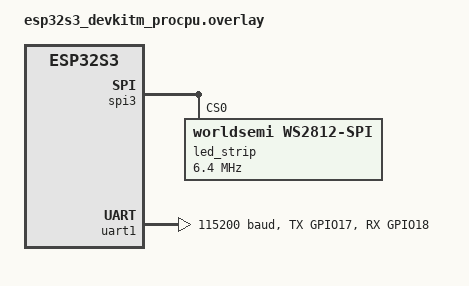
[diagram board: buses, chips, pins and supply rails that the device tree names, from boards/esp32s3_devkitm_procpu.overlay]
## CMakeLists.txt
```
# JRemote Controller - Zephyr 固件
# CMakeLists.txt

cmake_minimum_required(VERSION 3.20.0)

find_package(Zephyr REQUIRED)

project(jremote_controller)

# 设置 C++ 标准
set(CMAKE_CXX_STANDARD 17)
set(CMAKE_CXX_STANDARD_REQUIRED ON)

# 包含目录
target_include_directories(app PRIVATE
    ${CMAKE_SOURCE_DIR}/inc
    ${CMAKE_SOURCE_DIR}/inc/peripheral
    ${CMAKE_SOURCE_DIR}/inc/data
)

# 源文件 (C++)
target_sources(app PRIVATE
    # 主程序
    src/main.cpp

    # 外设模块
    src/peripheral/ble.cpp
    src/peripheral/ws2812_led.cpp

    # 数据处理模块
    src/data/data_handler.cpp
    src/data/control_data_handler.cpp
    src/data/user_data_handler.cpp
)
```

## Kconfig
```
# JRemote Controller - Kconfig

mainmenu "JRemote Controller"

source "$ZEPHYR_BASE/Kconfig.zephyr"

config APP_VERSION
    string "Application version"
    default "0.1.0"
    help
        Firmware version
```

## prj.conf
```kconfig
# JRemote Controller - Zephyr Configuration
# ESP32-S3 Configuration

# Enable console
CONFIG_CONSOLE=y
CONFIG_UART_CONSOLE=y
CONFIG_SERIAL=y

# UART
CONFIG_UART_ASYNC_API=y
CONFIG_UART_INTERRUPT_DRIVEN=n

# DMA
CONFIG_DMA=n

# Logging
CONFIG_LOG=y
CONFIG_LOG_DEFAULT_LEVEL=3

# Shell (for debugging)
CONFIG_SHELL=y

# SPI
CONFIG_SPI=y

# LED Strip (WS2812 via SPI)
CONFIG_LED_STRIP=y
CONFIG_WS2812_STRIP_SPI=y

CONFIG_BT=y
CONFIG_BT_HOST_CRYPTO=y

CONFIG_MBEDTLS=y
CONFIG_MBEDTLS_BUILTIN=y
CONFIG_MBEDTLS_PSA_CRYPTO_C=y

# BLE role
CONFIG_BT_PERIPHERAL=y
CONFIG_BT_DEVICE_NAME="JRemote"
CONFIG_BT_MAX_CONN=1

# BLE GATT
CONFIG_BT_GATT_CLIENT=y
CONFIG_BT_GATT_NOTIFY_MULTIPLE=y

# BLE Data Length Extension (DLE)
CONFIG_BT_DATA_LEN_UPDATE=y
CONFIG_BT_AUTO_DATA_LEN_UPDATE=y

# BLE PHY Update (optional, for better range/speed)
CONFIG_BT_PHY_UPDATE=y
CONFIG_BT_AUTO_PHY_UPDATE=y

# BLE Security (optional)
CONFIG_BT_SMP=y
CONFIG_BT_SMP_SC_PAIR_ONLY=y

# BLE buffers
CONFIG_BT_L2CAP_TX_MTU=517
CONFIG_BT_BUF_ACL_RX_SIZE=517
CONFIG_BT_BUF_ACL_TX_SIZE=517

# C++ static initialization
CONFIG_STATIC_INIT_GNU=y
```

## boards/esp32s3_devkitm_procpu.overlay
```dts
/*
 * JRemote Controller - 设备树覆盖层
 * WS2812 LED SPI 配置
 * UART MCU 通信配置
 */

#include <zephyr/dt-bindings/led/led.h>

&spi3 {
	/* WS2812 驱动支持 */
	line-idle-low;

	led_strip: ws2812@0 {
		compatible = "worldsemi,ws2812-spi";

		/* SPI 配置 */
		reg = <0>;
		spi-max-frequency = <6400000>;

		/* WS2812 配置 */
		chain-length = <1>;
		spi-cpha;
		spi-one-frame = <0xf0>;  /* 11110000: 625ns 高电平 + 625ns 低电平 */
		spi-zero-frame = <0xc0>;  /* 11000000: 312.5ns 高电平 + 937.5ns 低电平 */
		color-mapping = <LED_COLOR_ID_GREEN
				 LED_COLOR_ID_RED
				 LED_COLOR_ID_BLUE>;
	};
};

&pinctrl {
	spim3_default: spim3_default {
		group1 {
			pinmux = <SPIM3_MOSI_GPIO48>;
		};
	};
	uart1_default: uart1_default {
		group1 {
			pinmux = <UART1_TX_GPIO17>;
			output-high;
		};
		group2 {
			pinmux = <UART1_RX_GPIO18>;
			bias-pull-up;
		};
	};
};

/* MCU 通信 UART */
&uart1 {
	status = "okay";
	current-speed = <115200>;

	pinctrl-0 = <&uart1_default>;
	pinctrl-names = "default";
};

/ {
	aliases {
		led-strip = &led_strip;
	};
};
```

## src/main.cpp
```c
// JRemote Controller - Zephyr 固件
// 目标平台: ESP32
// 语言: C++17

#include <zephyr/kernel.h>
#include <zephyr/device.h>
#include <zephyr/devicetree.h>
#include <zephyr/logging/log.h>

#include "peripheral/ws2812_led.h"
#include "peripheral/ble.h"
#include "peripheral/serial.h"
#include "data/data_handler.h"
#include "data/control_data.h"

LOG_MODULE_REGISTER(jremote);

// BLE 线程栈
K_THREAD_STACK_DEFINE(ble_stack_area, 2048);

// 全局 BLE 实例（传入线程栈）
Ble g_ble(ble_stack_area, K_THREAD_STACK_SIZEOF(ble_stack_area));

// 全局 DataHandler 实例
static DataHandler g_data_handler;

// WS2812 LED 设备
static const struct device* led_strip_dev = DEVICE_DT_GET(DT_ALIAS(led_strip));

// MCU UART 设备
static const struct device* mcu_uart_dev = DEVICE_DT_GET(DT_NODELABEL(uart1));

// Serial 实例（RX 环形缓冲区 512 字节，DMA 缓冲区 256 字节）
Serial<512, 256> g_serial(mcu_uart_dev, kInterrupt, 115200);



int main(void)
{
	LOG_INF("JRemote Controller Zephyr 固件 v0.1.0");
	LOG_INF("目标平台: ESP32");

	// 检查 LED 设备是否就绪
	if (!device_is_ready(led_strip_dev)) {
		LOG_ERR("LED 设备未就绪");
		return -1;
	}

	// 初始化 WS2812 LED
	Ws2812Led led(led_strip_dev);
	if (!led.Init()) {
		LOG_ERR("WS2812 LED 初始化失败");
	} else {
		LOG_INF("WS2812 LED 已初始化");
	}

	// 设置 LED 为蓝色表示 BLE 初始化中
	led.SetColor(0, 0, 255);

	// 初始化 Serial
	if (!g_serial.IsReady()) {
		LOG_ERR("串口设备未就绪");
	} else {
		LOG_INF("串口已初始化");
	}

	// 初始化 DataHandler
	if (g_data_handler.Init() != 0) {
		LOG_ERR("DataHandler 初始化失败");
		return -1;
	}
	LOG_INF("DataHandler 已初始化");

	// 设置 DataHandler 回调
	g_data_handler.SetControlDataCallback(OnControlDataCallback);
	g_data_handler.SetUserDataCallback(OnUserDataCallback);

	// 初始化 BLE 并连接 DataHandler
	if (g_ble.Init() != 0) {
		LOG_ERR("BLE 初始化失败");
		return -1;
	}
	g_ble.SetDataHandler(&g_data_handler);
	LOG_INF("BLE 线程已启动");

	// 主循环
	while (true) {
		// 根据连接状态改变 LED 颜色
		if (g_ble.IsConnected()) {
			// 已连接 - 绿色
			led.SetColor(0, 255, 0);
			k_sleep(K_MSEC(100));
		} else {
			// 未连接 - 蓝色
			led.SetColor(0, 0, 255);
			k_sleep(K_MSEC(100));
		}
	}

	return 0;
}
```

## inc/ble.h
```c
#ifndef BLE_H
#define BLE_H

#include <zephyr/bluetooth/bluetooth.h>
#include <zephyr/bluetooth/conn.h>
#include <zephyr/bluetooth/gatt.h>
#include <zephyr/bluetooth/hci.h>
#include <zephyr/kernel.h>

// BLE UUID 定义 (与 Android App 兼容)
// Service: 4fafc201-1fb5-459e-8fcc-c5c9c331914b
// TX (Notify): beb5483e-36e1-4688-b7f5-ea07361b26a8 (设备发送, App 接收)
// RX (Write): 6e400002-b5a3-f393-e0a9-e50e24dcca9e (App 发送, 设备接收)
#define BLE_SERVICE_UUID_VAL     BT_UUID_128_ENCODE(0x4fafc201, 0x1fb5, 0x459e, 0x8fcc, 0xc5c9c331914b)
#define BLE_TX_UUID_VAL          BT_UUID_128_ENCODE(0xbeb5483e, 0x36e1, 0x4688, 0xb7f5, 0xea07361b26a8)
#define BLE_RX_UUID_VAL          BT_UUID_128_ENCODE(0x6e400002, 0xb5a3, 0xf393, 0xe0a9, 0xe50e24dcca9e)

#define BLE_SERVICE_UUID     BT_UUID_DECLARE_128(BLE_SERVICE_UUID_VAL)
#define BLE_TX_UUID          BT_UUID_DECLARE_128(BLE_TX_UUID_VAL)
#define BLE_RX_UUID          BT_UUID_DECLARE_128(BLE_RX_UUID_VAL)

// 数据回调类型
typedef void (*BleDataCallback)(const uint8_t* data, uint16_t len);

// BLE 类
class Ble {
public:
	// 构造函数
	Ble(k_thread_stack_t* stack, size_t stack_size);
	~Ble();

	// 初始化 BLE 堆栈并启动线程
	int Init();

	// 启动广播
	int StartAdvertising();

	// 发送数据到手机
	int SendData(const uint8_t* data, uint16_t len);

	// 设置数据接收回调
	void SetReceiveCallback(BleDataCallback callback);

	// 获取连接状态
	bool IsConnected() const;

	// 获取通知订阅状态
	bool IsSubscribed() const;

	// 获取当前 MTU
	uint16_t GetMtu() const;

	// 供回调使用的公共接口
	void OnConnected(struct bt_conn* conn);
	void OnDisconnected(struct bt_conn* conn);
	void OnRxData(const uint8_t* data, uint16_t len);
	void OnMtuExchanged(struct bt_conn* conn);
	void OnCccChanged(uint16_t value);

	// 静态实例指针 (供回调使用)
	static Ble* instance_;

private:
	// 线程入口 (静态成员函数)
	static void ThreadEntry(void* p1, void* p2, void* p3);

	// 线程相关
	k_thread_stack_t* stack_;
	size_t stack_size_;
	struct k_thread thread_data_;

	// 成员变量
	bool initialized_;
	bool connected_;
	bool subscribed_;
	struct bt_conn* conn_;
	BleDataCallback receive_callback_;
	uint16_t mtu_;
};

#endif  // BLE_H
```

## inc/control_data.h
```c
#ifndef CONTROL_DATA_H
#define CONTROL_DATA_H

#include <zephyr/kernel.h>

// 控制数据结构 (9 字节)
struct ControlData {
	uint8_t header;      // 字节0: 帧头 (0xAA=正常, 0xEE=急停)
	int8_t left_x;      // 字节1: 左摇杆 X (-127 ~ 127)
	int8_t left_y;      // 字节2: 左摇杆 Y (-127 ~ 127)
	int8_t right_x;     // 字节3: 右摇杆 X (-127 ~ 127)
	int8_t right_y;     // 字节4: 右摇杆 Y (-127 ~ 127)
	uint32_t buttons;   // 字节5-8: 按钮状态 (位掩码)
};

// 帧头定义
constexpr uint8_t kFrameHeaderNormal = 0xAA;
constexpr uint8_t kFrameHeaderEmergency = 0xEE;

// 连接类型
enum class ConnectionType {
	BLE,    // 蓝牙连接
	AP,     // AP 模式连接
	LAN,    // 局域网连接
	UART    // 串口连接
};

// 数据回调类型
typedef void (*ControlDataCallback)(const ControlData& data);

// 数据处理类
class ControlDataHandler {
public:
	ControlDataHandler();
	~ControlDataHandler() = default;

	// 设置数据接收回调
	void SetCallback(ControlDataCallback callback);

	// 处理接收到的原始数据
	// 返回: true=处理成功, false=数据无效
	bool ProcessData(const uint8_t* data, uint16_t len);

	// 获取最新数据
	ControlData GetData() const;

	// 获取连接类型
	ConnectionType GetConnectionType() const;

	// 设置连接类型
	void SetConnectionType(ConnectionType type);

	// 检查是否是急停指令
	bool IsEmergencyStop() const;

	// 检查是否有新数据
	bool HasNewData() const;

	// 标记数据已处理
	void ClearNewDataFlag();

private:
	ControlData data_;
	ControlDataCallback callback_;
	ConnectionType connection_type_;
	bool has_new_data_;
};

#endif  // CONTROL_DATA_H
```

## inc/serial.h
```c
//
// JRemote Controller - Serial Driver
// Based on mammoth project implementation
//

#ifndef JREMOTE_SERIAL_H
#define JREMOTE_SERIAL_H

#include <zephyr/kernel.h>
#include <zephyr/device.h>
#include <zephyr/drivers/uart.h>
#include <zephyr/sys/ring_buffer.h>
#include <cstdint>
#include <cstdlib>
#include <cstring>

// 定义模式枚举
enum SerialMode {
	kPolling,   // 阻塞/轮询模式
	kInterrupt, // 中断模式
	kDma        // DMA/Async模式
};

/**
 * @brief 异步串口封装类
 * @tparam RingBufferSize 用户读取用的 RingBuffer 大小
 * @tparam DmaBufferSize 单个 DMA 块的大小 (双缓冲模式下会分配两个此类 buffer)
 */
template <size_t RingBufferSize = 1024, size_t DmaBufferSize = 256>
class Serial {
public:
	/**
	 * @brief 构造函数
	 * @param dev UART 设备指针 (例如 DEVICE_DT_GET(DT_NODELABEL(uart1)))
	 * @param mode 工作模式，默认为阻塞模式
	 * @param baudrate 波特率，默认为 115200
	 * @param data_bits 数据位，默认为 8
	 * @param stop_bits 停止位，默认为 1
	 * @param parity 校验位，默认为无校验
	 */
	explicit Serial(const struct device* dev, SerialMode mode = kPolling, uint32_t baudrate = 115200,
					uint8_t data_bits = 8, uint8_t stop_bits = 1, uint8_t parity = UART_CFG_PARITY_NONE);

	~Serial();

	/**
	 * @brief 发送数据
	 * @note DMA 模式下会阻塞直到发送完成，但由 DMA 搬运，不消耗 CPU 周期
	 */
	bool SendData(const uint8_t* data, uint32_t len);

	/**
	 * @brief 读取数据 (从 RingBuffer 取)
	 */
	int32_t Read(uint8_t* data, uint32_t max_len);

	/**
	 * @brief 设置工作模式
	 */
	bool SetMode(SerialMode mode);

	bool IsReady() const { return device_is_ready(dev_); }

	int SetBaudrate(uint32_t baudrate);

protected:
	const struct device* dev_;
	SerialMode mode_;

	// --- 接收路径 (RX) ---
	struct ring_buf rx_ring_buf_;
	uint8_t rx_ring_mem_[RingBufferSize];

	// --- 发送路径 (TX) ---
	// 发送互斥锁：防止多线程同时调用 Write 导致数据错乱
	struct k_mutex tx_mutex_;
	// 发送完成信号量：用于 DMA 模式下的同步等待
	struct k_sem tx_done_sem_;
	// TX 内部缓冲
	uint8_t tx_dma_buf_[DmaBufferSize] __aligned(32);

	// --- DMA 双缓冲管理 ---
	// 定义两个对齐的 DMA 接收缓冲区
	uint8_t rx_dma_buf_a_[DmaBufferSize] __aligned(32);
	uint8_t rx_dma_buf_b_[DmaBufferSize] __aligned(32);
	// 指向下一个应该提供给硬件的 Buffer
	uint8_t* next_dma_buf_;

	// --- 回调函数 ---
	static void UartIsr(const struct device* dev, void* user_data);
	static void AsyncCallback(const struct device* dev, struct uart_event* evt, void* user_data);

	// 串口配置
	struct uart_config cfg_;

private:
	void DisableAll();
};

template <size_t RB_SZ, size_t DMA_SZ>
Serial<RB_SZ, DMA_SZ>::Serial(const struct device* dev, SerialMode mode, uint32_t baudrate, uint8_t data_bits, uint8_t stop_bits, uint8_t parity)
	: dev_(dev), mode_(kPolling), next_dma_buf_(rx_dma_buf_b_)
{
	// 初始化核心 RingBuffer
	ring_buf_init(&rx_ring_buf_, sizeof(rx_ring_mem_), rx_ring_mem_);

	// 初始化互斥锁
	k_mutex_init(&tx_mutex_);
	// 初始化信号量
	k_sem_init(&tx_done_sem_, 0, 1);

	if (device_is_ready(dev_)) {
		SetMode(mode);
		// 获取配置
		uart_config_get(dev_, &cfg_);
		cfg_.baudrate = baudrate;
		cfg_.data_bits = data_bits;
		cfg_.stop_bits = stop_bits;
		cfg_.parity = parity;
		// 配置
		uart_configure(dev_, &cfg_);
	}
}

template <size_t RB_SZ, size_t DMA_SZ>
Serial<RB_SZ, DMA_SZ>::~Serial() {
	DisableAll();
}

template <size_t RB_SZ, size_t DMA_SZ>
void Serial<RB_SZ, DMA_SZ>::DisableAll() {
	uart_irq_rx_disable(dev_);
	uart_irq_tx_disable(dev_);
#ifdef CONFIG_UART_ASYNC_API
	if (mode_ == kDma) {
		uart_rx_disable(dev_);
	}
#endif
}

template <size_t RB_SZ, size_t DMA_SZ>
bool Serial<RB_SZ, DMA_SZ>::SetMode(SerialMode mode) {
	if (!device_is_ready(dev_)) return false;

	DisableAll();
	mode_ = mode;

	switch (mode_) {
	case kPolling:
		return true;

	case kInterrupt:
		// 注册中断回调，传入 'this' 作为 user_data
		uart_irq_callback_user_data_set(dev_, UartIsr, this);
		uart_irq_rx_enable(dev_);
		return true;

	case kDma:
#ifdef CONFIG_UART_ASYNC_API
		// 注册异步回调，传入 'this' 作为 user_data
		if (uart_callback_set(dev_, AsyncCallback, this) != 0) {
			return false;
		}

		// 初始状态：
		// 1. 启用 RX，使用 Buffer A
		// 2. 将 Buffer B 标记为下一个备用
		next_dma_buf_ = rx_dma_buf_b_;

		// 10ms 超时：如果接收不满一个 buffer 但线路空闲 10ms，也会触发 RX_RDY
		uart_rx_enable(dev_, rx_dma_buf_a_, DMA_SZ, 10000);
		return true;
#else
		return false; // 在 prj.conf 中未开启 CONFIG_UART_ASYNC_API
#endif
	default:
		return false;
	}
}

template <size_t RB_SZ, size_t DMA_SZ>
bool Serial<RB_SZ, DMA_SZ>::SendData(const uint8_t* data, uint32_t len) {
	if (!data || len == 0) return false;

	// 1. 加锁，确保多线程安全
	k_mutex_lock(&tx_mutex_, K_FOREVER);
	bool ret = true;

	if (mode_ == kDma) {
#ifdef CONFIG_UART_ASYNC_API
		// DMA 模式分块发送（如果数据长度超过内部 TX Buffer）
		uint32_t sent = 0;
		while (sent < len) {
			uint32_t chunk = len - sent;
			if (chunk > DMA_SZ) chunk = DMA_SZ;

			// 拷贝到内部 RAM buffer (必须步骤，防止 data 指向栈内存或 Flash)
			memcpy(tx_dma_buf_, data + sent, chunk);

			k_sem_reset(&tx_done_sem_);

			// 启动 DMA 发送
			if (uart_tx(dev_, tx_dma_buf_, chunk, SYS_FOREVER_US) == 0) {
				// 阻塞等待发送完成信号量 (由 AsyncCallback 释放)
				k_sem_take(&tx_done_sem_, K_FOREVER);
			} else {
				ret = false;
				break;
			}
			sent += chunk;
		}
#else
		ret = false;
#endif
	} else {
		// 轮询模式 / 中断模式下的发送
		for (uint32_t i = 0; i < len; i++) {
			uart_poll_out(dev_, data[i]);
		}
	}

	k_mutex_unlock(&tx_mutex_);
	return ret;
}

template <size_t RB_SZ, size_t DMA_SZ>
int32_t Serial<RB_SZ, DMA_SZ>::Read(uint8_t* data, uint32_t max_len) {
	if (mode_ == kPolling) {
		// 非阻塞轮询读取
		uint32_t cnt = 0;
		while (cnt < max_len && uart_poll_in(dev_, &data[cnt]) == 0) {
			cnt++;
		}
		return cnt;
	} else {
		// 中断和 DMA 模式都已将数据汇聚到 ring_buf
		return ring_buf_get(&rx_ring_buf_, data, max_len);
	}
}

// -------------------------------------------------------------------------
// Callbacks (ISR context)
// -------------------------------------------------------------------------

template <size_t RB_SZ, size_t DMA_SZ>
void Serial<RB_SZ, DMA_SZ>::AsyncCallback(const struct device* dev,
										  struct uart_event* evt,
										  void* user_data) {
#ifdef CONFIG_UART_ASYNC_API
	// 将 user_data 强转回当前类实例指针
	Serial* self = static_cast<Serial*>(user_data);

	switch (evt->type) {
	case UART_TX_DONE:
	case UART_TX_ABORTED:
		// 发送完成，唤醒 Write 函数
		k_sem_give(&self->tx_done_sem_);
		break;

	case UART_RX_RDY:
		// 【数据到达】
		if (evt->data.rx.len > 0) {
			ring_buf_put(&self->rx_ring_buf_,
						 evt->data.rx.buf + evt->data.rx.offset,
						 evt->data.rx.len);
		}
		break;

	case UART_RX_BUF_REQUEST:
		// 请求新 Buffer (双缓冲切换)
		uart_rx_buf_rsp(dev, self->next_dma_buf_, DMA_SZ);

		// 交换 buffer 指针，准备下一次切换
		if (self->next_dma_buf_ == self->rx_dma_buf_a_) {
			self->next_dma_buf_ = self->rx_dma_buf_b_;
		} else {
			self->next_dma_buf_ = self->rx_dma_buf_a_;
		}
		break;

	case UART_RX_DISABLED:
		// 如果 RX 意外停止，尝试重启
		if (self->mode_ == kDma) {
			uart_rx_enable(dev, self->rx_dma_buf_a_, DMA_SZ, 10000);
		}
		break;

	default:
		break;
	}
#endif
}

template <size_t RB_SZ, size_t DMA_SZ>
void Serial<RB_SZ, DMA_SZ>::UartIsr(const struct device* dev, void* user_data) {
	Serial* self = static_cast<Serial*>(user_data);

	uart_irq_update(dev);

	if (uart_irq_rx_ready(dev)) {
		uint8_t buffer[64];
		int len;
		while ((len = uart_fifo_read(dev, buffer, sizeof(buffer))) > 0) {
			ring_buf_put(&self->rx_ring_buf_, buffer, len);
		}
	}
}

template <size_t RingBufferSize, size_t DmaBufferSize>
int Serial<RingBufferSize, DmaBufferSize>::SetBaudrate(uint32_t baudrate) {
	cfg_.baudrate = baudrate;
	return uart_configure(dev_, &cfg_);
}

#endif // JREMOTE_SERIAL_H
```

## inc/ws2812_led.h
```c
#ifndef WS2812_LED_H
#define WS2812_LED_H

#include <zephyr/device.h>
#include <zephyr/drivers/led_strip.h>

// RGB color structure
struct RgbColor {
	uint8_t r;
	uint8_t g;
	uint8_t b;
};

// WS2812 LED class wrapping Zephyr LED strip driver
class Ws2812Led {
public:
	// Constructor
	explicit Ws2812Led(const struct device* strip);

	// Initialize the LED
	bool Init();

	// Set color (RGB)
	void SetColor(uint8_t r, uint8_t g, uint8_t b);

	// Set color (from RgbColor struct)
	void SetColor(RgbColor color);

	// Get current color
	RgbColor GetColor() const;


	// Check if LED is ready
	bool IsReady() const;

private:
	// Show (update LED)
	void Show() const;
	const struct device* strip_;
	RgbColor current_color_;
	bool initialized_;
};

#endif  // WS2812_LED_H
```

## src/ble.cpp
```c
#include "ble.h"
#include <zephyr/kernel.h>
#include <zephyr/bluetooth/bluetooth.h>
#include <zephyr/bluetooth/gatt.h>
#include <zephyr/logging/log.h>

LOG_MODULE_REGISTER(ble);

// 静态成员定义
Ble* Ble::instance_ = nullptr;

// Ping 定义
static constexpr uint8_t kPingRequest = 0x70;   // 'p'
static constexpr uint8_t kPingResponse = 0x50;  // 'P'

// 服务 UUID 128-bit (little-endian for BLE)
// UUID: 4fafc201-1fb5-459e-8fcc-c5c9c331914b
static const uint8_t service_uuid_128[] = {
	0x4b, 0x91, 0x31, 0xc3, 0xc9, 0xc5, 0xcc, 0x8f,
	0x9e, 0x45, 0xb5, 0x1f, 0x01, 0xc2, 0xaf, 0x4f
};

// 连接回调函数
static void OnConnectedCallback(struct bt_conn* conn, uint8_t err) {
	if (err) {
		LOG_ERR("Connection failed (err %u)", err);
		return;
	}
	if (Ble::instance_) {
		Ble::instance_->OnConnected(conn);
	}
}

static void OnDisconnectedCallback(struct bt_conn* conn, uint8_t reason) {
	LOG_INF("Disconnected (reason %u)", reason);
	if (Ble::instance_) {
		Ble::instance_->OnDisconnected(conn);
	}
}

// MTU 协商回调
static void OnMtuExchangedCallback(struct bt_conn* conn, uint8_t err,
								   struct bt_gatt_exchange_params* params) {
	if (err) {
		LOG_WRN("MTU exchange failed (err %u)", err);
	} else {
		if (Ble::instance_) {
			Ble::instance_->OnMtuExchanged(conn);
		}
	}
}

static struct bt_gatt_exchange_params mtu_exchange_params;

// 连接回调定义
BT_CONN_CB_DEFINE(conn_callbacks) = {
	.connected = OnConnectedCallback,
	.disconnected = OnDisconnectedCallback,
};

// RX 写入回调
static ssize_t OnRxWriteCallback(struct bt_conn* conn,
								 const struct bt_gatt_attr* attr,
								 const void* buf, uint16_t len,
								 uint16_t offset, uint8_t flags) {
	(void)conn;
	(void)attr;
	(void)offset;
	(void)flags;

	if (Ble::instance_) {
		Ble::instance_->OnRxData((const uint8_t*)buf, len);
	}

	return len;
}

// CCC 配置回调
static void OnCccConfigChangedCallback(const struct bt_gatt_attr* attr,
									   uint16_t value) {
	if (Ble::instance_) {
		Ble::instance_->OnCccChanged(value);
	}
}

// GATT 服务定义
BT_GATT_SERVICE_DEFINE(ble_gatt_service,
	BT_GATT_PRIMARY_SERVICE(BLE_SERVICE_UUID),
	BT_GATT_CHARACTERISTIC(BLE_RX_UUID,
						  BT_GATT_CHRC_WRITE | BT_GATT_CHRC_WRITE_WITHOUT_RESP,
						  BT_GATT_PERM_WRITE, nullptr, OnRxWriteCallback, nullptr),
	BT_GATT_CHARACTERISTIC(BLE_TX_UUID,
						  BT_GATT_CHRC_NOTIFY,
						  BT_GATT_PERM_NONE, nullptr, nullptr, nullptr),
	BT_GATT_CCC(OnCccConfigChangedCallback, BT_GATT_PERM_READ | BT_GATT_PERM_WRITE),
);

Ble::Ble(k_thread_stack_t* stack, size_t stack_size)
	: stack_(stack), stack_size_(stack_size),
	  initialized_(false), connected_(false), subscribed_(false), conn_(nullptr),
	  receive_callback_(nullptr), mtu_(23) {
}

Ble::~Ble() {
}

int Ble::Init() {
	int err;

	// 保存实例指针供回调使用
	instance_ = this;

	// 初始化 BLE 堆栈
	err = bt_enable(nullptr);
	if (err) {
		LOG_ERR("Bluetooth init failed (err %d)", err);
		return err;
	}

	initialized_ = true;
	LOG_INF("Bluetooth initialized");

	// 创建线程
	k_thread_create(&thread_data_,
					stack_,
					stack_size_,
					ThreadEntry,
					this, nullptr, nullptr,
					5,  // 优先级
					0,  // 选项
					K_NO_WAIT);

	return 0;
}

int Ble::StartAdvertising() {
	int err;

	if (!initialized_) {
		LOG_ERR("Bluetooth not initialized");
		return -1;
	}

	// 广播数据: 包含标志和完整服务 UUID
	static const uint8_t flags[] = { BT_LE_AD_GENERAL | BT_LE_AD_NO_BREDR };

	struct bt_data adv_data[] = {
		BT_DATA(BT_DATA_FLAGS, flags, sizeof(flags)),
		BT_DATA(BT_DATA_UUID128_ALL, service_uuid_128, sizeof(service_uuid_128)),
	};

	// 扫描响应数据: 设备名称
	struct bt_data scan_data[] = {
		BT_DATA(BT_DATA_NAME_COMPLETE, "JRemote", 7),
	};

	err = bt_le_adv_start(BT_LE_ADV_CONN_FAST_1, adv_data, ARRAY_SIZE(adv_data),
						  scan_data, ARRAY_SIZE(scan_data));
	if (err) {
		LOG_ERR("Advertising failed to start (err %d)", err);
		return err;
	}

	LOG_INF("Advertising started");
	return 0;
}

int Ble::SendData(const uint8_t* data, uint16_t len) {
	if (!connected_ || conn_ == nullptr) {
		return -1;
	}

	if (!subscribed_) {
		return -2;
	}

	// 使用 TX 特征发送通知
	// attrs[0] = Primary Service, attrs[1] = RX decl, attrs[2] = RX value
	// attrs[3] = TX decl, attrs[4] = TX value, attrs[5] = CCC
	const struct bt_gatt_attr* attr = &ble_gatt_service.attrs[4];
	return bt_gatt_notify(conn_, attr, data, len);
}

void Ble::SetReceiveCallback(BleDataCallback callback) {
	receive_callback_ = callback;
}

bool Ble::IsConnected() const {
	return connected_;
}

bool Ble::IsSubscribed() const {
	return subscribed_;
}

uint16_t Ble::GetMtu() const {
	return mtu_;
}

void Ble::OnConnected(struct bt_conn* conn) {
	connected_ = true;
	conn_ = bt_conn_ref(conn);

	LOG_INF("Connected");

	// 请求更大的 MTU
	mtu_exchange_params.func = OnMtuExchangedCallback;
	int err = bt_gatt_exchange_mtu(conn, &mtu_exchange_params);
	if (err) {
		LOG_WRN("MTU exchange request failed (err %d)", err);
	}
}

void Ble::OnDisconnected(struct bt_conn* conn) {
	(void)conn;
	connected_ = false;
	subscribed_ = false;
	mtu_ = 23;
	if (conn_) {
		bt_conn_unref(conn_);
		conn_ = nullptr;
	}

	// 重新开始广播
	StartAdvertising();
}

void Ble::OnCccChanged(uint16_t value) {
	if (value == BT_GATT_CCC_NOTIFY) {
		subscribed_ = true;
		LOG_INF("Client subscribed to notifications");
	} else {
		subscribed_ = false;
		LOG_INF("Client unsubscribed from notifications");
	}
}

void Ble::OnMtuExchanged(struct bt_conn* conn) {
	// 获取当前 MTU
	mtu_ = bt_gatt_get_mtu(conn);
	LOG_INF("MTU exchanged: %u", mtu_);
}

void Ble::OnRxData(const uint8_t* data, uint16_t len) {
	LOG_INF("RX data: %s", data);
	// 检查是否是 Ping 请求
	if (len == 1 && data[0] == kPingRequest) {
		// 响应 Ping
		uint8_t response = kPingResponse;
		SendData(&response, 1);
		LOG_INF("Ping received, responded");
		return;
	}

	// 其他数据传递给回调
	if (receive_callback_) {
		receive_callback_(data, len);
	}
}

void Ble::ThreadEntry(void* p1, void* p2, void* p3) {
	Ble* self = static_cast<Ble*>(p1);

	// 启动广播
	self->StartAdvertising();

	// 线程主循环
	while (true) {
		// BLE 处理可以根据需要添加周期性任务
		k_msleep(100);
	}
}
```

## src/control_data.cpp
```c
#include "control_data.h"

ControlDataHandler::ControlDataHandler()
	: callback_(nullptr),
	  connection_type_(ConnectionType::BLE),
	  has_new_data_(false) {
	data_.header = kFrameHeaderNormal;
	data_.left_x = 0;
	data_.left_y = 0;
	data_.right_x = 0;
	data_.right_y = 0;
	data_.buttons = 0;
}

void ControlDataHandler::SetCallback(ControlDataCallback callback) {
	callback_ = callback;
}

bool ControlDataHandler::ProcessData(const uint8_t* data, uint16_t len) {
	// 检查数据长度
	if (len < sizeof(ControlData)) {
		return false;
	}

	// 复制数据
	const ControlData* raw = reinterpret_cast<const ControlData*>(data);

	// 验证帧头
	if (raw->header != kFrameHeaderNormal && raw->header != kFrameHeaderEmergency) {
		return false;
	}

	// 更新数据
	data_ = *raw;
	has_new_data_ = true;

	// 调用回调
	if (callback_) {
		callback_(data_);
	}

	return true;
}

ControlData ControlDataHandler::GetData() const {
	return data_;
}

ConnectionType ControlDataHandler::GetConnectionType() const {
	return connection_type_;
}

void ControlDataHandler::SetConnectionType(ConnectionType type) {
	connection_type_ = type;
}

bool ControlDataHandler::IsEmergencyStop() const {
	return data_.header == kFrameHeaderEmergency;
}

bool ControlDataHandler::HasNewData() const {
	return has_new_data_;
}

void ControlDataHandler::ClearNewDataFlag() {
	has_new_data_ = false;
}
```

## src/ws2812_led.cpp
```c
#include "ws2812_led.h"

Ws2812Led::Ws2812Led(const struct device* strip)
    : strip_(strip), current_color_({0, 0, 0}), initialized_(false) {
}

bool Ws2812Led::Init() {
  if (strip_ == nullptr) {
    return false;
  }

  if (!device_is_ready(strip_)) {
    return false;
  }

  initialized_ = true;
  return true;
}

void Ws2812Led::SetColor(uint8_t r, uint8_t g, uint8_t b) {
  current_color_.r = r;
  current_color_.g = g;
  current_color_.b = b;
}

void Ws2812Led::SetColor(RgbColor color) {
  current_color_ = color;
}

RgbColor Ws2812Led::GetColor() const {
  return current_color_;
}

void Ws2812Led::Show() {
  if (!initialized_) {
    return;
  }

  struct led_rgb pixels[1];
  pixels[0].r = current_color_.r;
  pixels[0].g = current_color_.g;
  pixels[0].b = current_color_.b;

  led_strip_update_rgb(strip_, pixels, 1);
}

bool Ws2812Led::IsReady() const {
  return initialized_;
}
```
